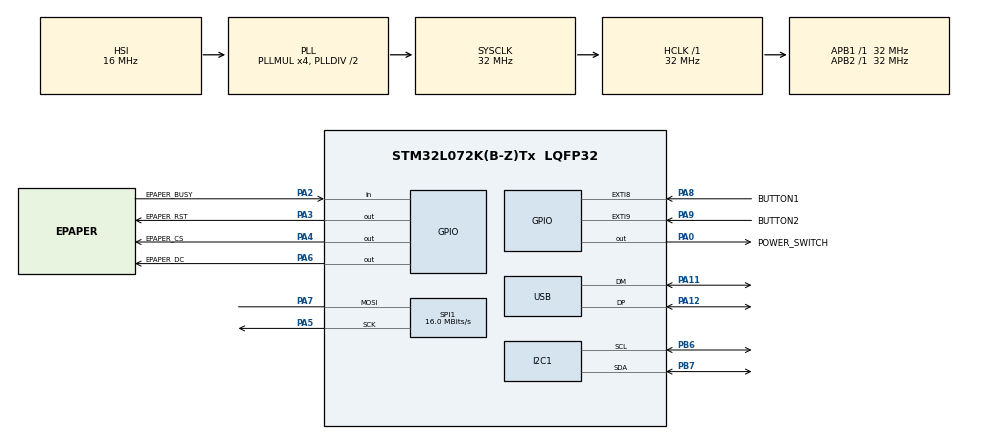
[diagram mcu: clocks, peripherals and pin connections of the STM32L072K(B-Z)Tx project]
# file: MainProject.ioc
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CRC.DefaultInitValueUse=DEFAULT_INIT_VALUE_DISABLE
CRC.DefaultPolynomialUse=DEFAULT_POLYNOMIAL_DISABLE
I2C1.Timing=0x00707CBB
Mcu.Family=STM32L0
Mcu.Name=STM32L072K(B-Z)Tx
Mcu.Package=LQFP32
NVIC.EXTI4_15_IRQn=true\:0\:0\:false\:false\:true\:true\:true\:true
NVIC.USB_IRQn=true\:0\:0\:false\:false\:true\:false\:true\:true
PA0.GPIO_Label=POWER_SWITCH
PA0.Signal=GPIO_Output
PA11.Mode=Device
PA11.Signal=USB_DM
PA12.Mode=Device
PA12.Signal=USB_DP
PA13.Mode=Serial_Wire
PA13.Signal=SYS_SWDIO
PA14.Mode=Serial_Wire
PA14.Signal=SYS_SWCLK
PA2.GPIO_Label=EPAPER_BUSY
PA2.Signal=GPIO_Input
PA3.GPIO_Label=EPAPER_RST
PA3.GPIO_Speed=GPIO_SPEED_FREQ_HIGH
PA3.Signal=GPIO_Output
PA4.GPIO_Label=EPAPER_CS
PA4.GPIO_Speed=GPIO_SPEED_FREQ_VERY_HIGH
PA4.Signal=GPIO_Output
PA5.Mode=Simplex_Bidirectional_Master
PA5.Signal=SPI1_SCK
PA6.GPIO_Label=EPAPER_DC
PA6.GPIO_Speed=GPIO_SPEED_FREQ_VERY_HIGH
PA6.Signal=GPIO_Output
PA7.Mode=Simplex_Bidirectional_Master
PA7.Signal=SPI1_MOSI
PA8.GPIO_Label=BUTTON1
PA8.Signal=GPXTI8
PA9.GPIO_Label=BUTTON2
PA9.Signal=GPXTI9
PB6.Mode=I2C
PB6.Signal=I2C1_SCL
PB7.Mode=I2C
PB7.Signal=I2C1_SDA
ProjectManager.HeapSize=0x200
ProjectManager.StackSize=0x400
ProjectManager.TargetToolchain=STM32CubeIDE
RCC.AHBFreq_Value=32000000
RCC.APB1Freq_Value=32000000
RCC.APB1TimFreq_Value=32000000
RCC.APB2Freq_Value=32000000
RCC.APB2TimFreq_Value=32000000
RCC.HCLKFreq_Value=32000000
RCC.HSI16_VALUE=16000000
RCC.HSI48MClockSelection=RCC_USBCLKSOURCE_HSI48
RCC.HSI48_VALUE=48000000
RCC.HSI_VALUE=16000000
RCC.LSE_VALUE=32768
RCC.MSI_VALUE=2097000
RCC.PLLMUL=RCC_PLLMUL_4
RCC.SYSCLKFreq_VALUE=32000000
RCC.SYSCLKSource=RCC_SYSCLKSOURCE_PLLCLK
RCC.VCOOutputFreq_Value=64000000
SPI1.CalculateBaudRate=16.0 MBits/s
SPI1.Direction=SPI_DIRECTION_1LINE
SPI1.Mode=SPI_MODE_MASTER
SPI1.VirtualType=VM_MASTER
USB_DEVICE.APP_RX_DATA_SIZE=512
USB_DEVICE.APP_TX_DATA_SIZE=512
USB_DEVICE.CLASS_NAME_FS=CDC
USB_DEVICE.VirtualMode=Cdc
USB_DEVICE.VirtualModeFS=Cdc_FS
VP_CRC_VS_CRC.Mode=CRC_Activate
VP_RCC_USB.Mode=CRS SYNC Source USB
VP_USB_DEVICE_VS_USB_DEVICE_CDC_FS.Mode=CDC_FS
board=custom

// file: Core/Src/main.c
/* USER CODE BEGIN Header */
/**
  ******************************************************************************
  * @file           : main.c
  * @brief          : Main program body
  ******************************************************************************
  * @attention
  *
  * Copyright (c) 2022 STMicroelectronics.
  * All rights reserved.
  *
  * This software is licensed under terms that can be found in the LICENSE file
  * in the root directory of this software component.
  * If no LICENSE file comes with this software, it is provided AS-IS.
  *
  ******************************************************************************
  */
/* USER CODE END Header */
#include "main.h"
#include "usb_device.h"

/* USER CODE BEGIN Includes */
#include "usbd_cdc_if.h"
#include "paper.h"
#include "24FC64F.h"
#define DISPLAY_ON POWER_SWITCH_GPIO_Port->ODR &= ~(POWER_SWITCH_Pin)
#define DISPLAY_OFF POWER_SWITCH_GPIO_Port->ODR |= (POWER_SWITCH_Pin)

// The section size is really dependent on USB CDC's write capabilities which is best done
// 64 bytes at a time
#define SECTION_SIZE 64
// The numbmer of "sections" to make up a single frame, in this case (64*44) = 22528 bits.
// The display has 212*104=22048 bits
#define SECTION_PER_FRAME 44
#define BYTES_PER_FRAME SECTION_SIZE * SECTION_PER_FRAME
// A section from the start of the EEPROM reserved for user settings.
// This should be a multiple of 32 due to the EEPROM's page write size
#define EEPROM_USER_SETTING_SIZE 32

uint8_t current_frame = 0;
uint8_t display_buffer[BYTES_PER_FRAME];
uint8_t version_string[] = "Epaper Rev C\n";

int usb_asking_numb_data = 0;
uint8_t usb_asking_for = 0;
uint8_t ee_write_frame = 0;
uint8_t ee_write_section = 0;

uint8_t handle_loop_extra_stuff = 0;
uint8_t handle_main_loop = 0;

void handle_usb_packet(void);
void handle_usb_extra_data(void);
/* USER CODE END Includes */

/* USER CODE BEGIN PTD */
UserSettings_t user_settings = {
	.numb_of_frames = 3,
};
/* USER CODE END PTD */

void SystemClock_Config(void);
static void MX_GPIO_Init(void);
static void MX_CRC_Init(void);
static void MX_I2C1_Init(void);
static void MX_SPI1_Init(void);

int main(void)
{

  /* MCU Configuration--------------------------------------------------------*/

  /* Reset of all peripherals, Initializes the Flash interface and the Systick. */
  HAL_Init();

  /* Configure the system clock */
  SystemClock_Config();

  /* Initialize all configured peripherals */
  MX_GPIO_Init();
  MX_CRC_Init();
  MX_I2C1_Init();
  MX_SPI1_Init();
  MX_USB_DEVICE_Init();
  /* USER CODE BEGIN 2 */
//  get_setting_from_ee();
  DISPLAY_ON;
  LL_SPI_Enable(SPI1);
  Paper_Init();
  Paper_Clear(); Paper_TurnOnDisplay();
  Paper_Sleep();
  DISPLAY_OFF;
  /* USER CODE END 2 */

  /* Infinite loop */
  /* USER CODE BEGIN WHILE */
  while (1)
  {
    if(handle_loop_extra_stuff == 1){
	  NVIC_DisableIRQ(USB_IRQn);
	  handle_usb_extra_data();
	  NVIC_EnableIRQ(USB_IRQn);
	  handle_loop_extra_stuff = 0;
	}
	else if(handle_loop_extra_stuff == 2){
	  NVIC_DisableIRQ(USB_IRQn);
	  display_frame_number(ee_write_frame);
	  NVIC_EnableIRQ(USB_IRQn);
	  handle_loop_extra_stuff = 0;
	}

	if(handle_main_loop == 1){
	  NVIC_DisableIRQ(USB_IRQn);
	  handle_usb_packet();
	  NVIC_EnableIRQ(USB_IRQn);
	  handle_main_loop = 0;
	}
    /* USER CODE END WHILE */

  }
}

void SystemClock_Config(void)
{
  RCC_OscInitTypeDef RCC_OscInitStruct = {0};
  RCC_ClkInitTypeDef RCC_ClkInitStruct = {0};
  RCC_PeriphCLKInitTypeDef PeriphClkInit = {0};
  RCC_CRSInitTypeDef RCC_CRSInitStruct = {0};

  /** Configure the main internal regulator output voltage
  */
  __HAL_PWR_VOLTAGESCALING_CONFIG(PWR_REGULATOR_VOLTAGE_SCALE1);

  /** Initializes the RCC Oscillators according to the specified parameters
  * in the RCC_OscInitTypeDef structure.
  */
  RCC_OscInitStruct.OscillatorType = RCC_OSCILLATORTYPE_HSI|RCC_OSCILLATORTYPE_HSI48;
  RCC_OscInitStruct.HSIState = RCC_HSI_ON;
  RCC_OscInitStruct.HSICalibrationValue = RCC_HSICALIBRATION_DEFAULT;
  RCC_OscInitStruct.HSI48State = RCC_HSI48_ON;
  RCC_OscInitStruct.PLL.PLLState = RCC_PLL_ON;
  RCC_OscInitStruct.PLL.PLLSource = RCC_PLLSOURCE_HSI;
  RCC_OscInitStruct.PLL.PLLMUL = RCC_PLLMUL_4;
  RCC_OscInitStruct.PLL.PLLDIV = RCC_PLLDIV_2;
  if (HAL_RCC_OscConfig(&RCC_OscInitStruct) != HAL_OK)
  {
    Error_Handler();
  }

  /** Initializes the CPU, AHB and APB buses clocks
  */
  RCC_ClkInitStruct.ClockType = RCC_CLOCKTYPE_HCLK|RCC_CLOCKTYPE_SYSCLK
                              |RCC_CLOCKTYPE_PCLK1|RCC_CLOCKTYPE_PCLK2;
  RCC_ClkInitStruct.SYSCLKSource = RCC_SYSCLKSOURCE_PLLCLK;
  RCC_ClkInitStruct.AHBCLKDivider = RCC_SYSCLK_DIV1;
  RCC_ClkInitStruct.APB1CLKDivider = RCC_HCLK_DIV1;
  RCC_ClkInitStruct.APB2CLKDivider = RCC_HCLK_DIV1;

  if (HAL_RCC_ClockConfig(&RCC_ClkInitStruct, FLASH_LATENCY_1) != HAL_OK)
  {
    Error_Handler();
  }
  PeriphClkInit.PeriphClockSelection = RCC_PERIPHCLK_I2C1|RCC_PERIPHCLK_USB;
  PeriphClkInit.I2c1ClockSelection = RCC_I2C1CLKSOURCE_PCLK1;
  PeriphClkInit.UsbClockSelection = RCC_USBCLKSOURCE_HSI48;
  if (HAL_RCCEx_PeriphCLKConfig(&PeriphClkInit) != HAL_OK)
  {
    Error_Handler();
  }

  /** Enable the SYSCFG APB clock
  */
  __HAL_RCC_CRS_CLK_ENABLE();

  /** Configures CRS
  */
  RCC_CRSInitStruct.Prescaler = RCC_CRS_SYNC_DIV1;
  RCC_CRSInitStruct.Source = RCC_CRS_SYNC_SOURCE_USB;
  RCC_CRSInitStruct.Polarity = RCC_CRS_SYNC_POLARITY_RISING;
  RCC_CRSInitStruct.ReloadValue = __HAL_RCC_CRS_RELOADVALUE_CALCULATE(48000000,1000);
  RCC_CRSInitStruct.ErrorLimitValue = 34;
  RCC_CRSInitStruct.HSI48CalibrationValue = 32;

  HAL_RCCEx_CRSConfig(&RCC_CRSInitStruct);
}

static void MX_CRC_Init(void)
{

  /* Peripheral clock enable */
  LL_AHB1_GRP1_EnableClock(LL_AHB1_GRP1_PERIPH_CRC);

  LL_CRC_SetInputDataReverseMode(CRC, LL_CRC_INDATA_REVERSE_NONE);
  LL_CRC_SetOutputDataReverseMode(CRC, LL_CRC_OUTDATA_REVERSE_NONE);
  LL_CRC_SetInitialData(CRC, 0);
  LL_CRC_SetPolynomialCoef(CRC, 79764919);
  LL_CRC_SetPolynomialSize(CRC, LL_CRC_POLYLENGTH_32B);

}

static void MX_I2C1_Init(void)
{

  LL_I2C_InitTypeDef I2C_InitStruct = {0};

  LL_GPIO_InitTypeDef GPIO_InitStruct = {0};

  LL_IOP_GRP1_EnableClock(LL_IOP_GRP1_PERIPH_GPIOB);
  /**I2C1 GPIO Configuration
  PB6   ------> I2C1_SCL
  PB7   ------> I2C1_SDA
  */
  GPIO_InitStruct.Pin = LL_GPIO_PIN_6;
  GPIO_InitStruct.Mode = LL_GPIO_MODE_ALTERNATE;
  GPIO_InitStruct.Speed = LL_GPIO_SPEED_FREQ_VERY_HIGH;
  GPIO_InitStruct.OutputType = LL_GPIO_OUTPUT_OPENDRAIN;
  GPIO_InitStruct.Pull = LL_GPIO_PULL_NO;
  GPIO_InitStruct.Alternate = LL_GPIO_AF_1;
  LL_GPIO_Init(GPIOB, &GPIO_InitStruct);

  GPIO_InitStruct.Pin = LL_GPIO_PIN_7;
  GPIO_InitStruct.Mode = LL_GPIO_MODE_ALTERNATE;
  GPIO_InitStruct.Speed = LL_GPIO_SPEED_FREQ_VERY_HIGH;
  GPIO_InitStruct.OutputType = LL_GPIO_OUTPUT_OPENDRAIN;
  GPIO_InitStruct.Pull = LL_GPIO_PULL_NO;
  GPIO_InitStruct.Alternate = LL_GPIO_AF_1;
  LL_GPIO_Init(GPIOB, &GPIO_InitStruct);

  /* Peripheral clock enable */
  LL_APB1_GRP1_EnableClock(LL_APB1_GRP1_PERIPH_I2C1);

  /** I2C Initialization
  */
  LL_I2C_EnableAutoEndMode(I2C1);
  LL_I2C_DisableOwnAddress2(I2C1);
  LL_I2C_DisableGeneralCall(I2C1);
  LL_I2C_EnableClockStretching(I2C1);
  I2C_InitStruct.PeripheralMode = LL_I2C_MODE_I2C;
  I2C_InitStruct.Timing = 0x00707CBB;
  I2C_InitStruct.AnalogFilter = LL_I2C_ANALOGFILTER_ENABLE;
  I2C_InitStruct.DigitalFilter = 0;
  I2C_InitStruct.OwnAddress1 = 0;
  I2C_InitStruct.TypeAcknowledge = LL_I2C_ACK;
  I2C_InitStruct.OwnAddrSize = LL_I2C_OWNADDRESS1_7BIT;
  LL_I2C_Init(I2C1, &I2C_InitStruct);
  LL_I2C_SetOwnAddress2(I2C1, 0, LL_I2C_OWNADDRESS2_NOMASK);

}

static void MX_SPI1_Init(void)
{

  LL_SPI_InitTypeDef SPI_InitStruct = {0};

  LL_GPIO_InitTypeDef GPIO_InitStruct = {0};

  /* Peripheral clock enable */
  LL_APB2_GRP1_EnableClock(LL_APB2_GRP1_PERIPH_SPI1);

  LL_IOP_GRP1_EnableClock(LL_IOP_GRP1_PERIPH_GPIOA);
  /**SPI1 GPIO Configuration
  PA5   ------> SPI1_SCK
  PA7   ------> SPI1_MOSI
  */
  GPIO_InitStruct.Pin = LL_GPIO_PIN_5;
  GPIO_InitStruct.Mode = LL_GPIO_MODE_ALTERNATE;
  GPIO_InitStruct.Speed = LL_GPIO_SPEED_FREQ_VERY_HIGH;
  GPIO_InitStruct.OutputType = LL_GPIO_OUTPUT_PUSHPULL;
  GPIO_InitStruct.Pull = LL_GPIO_PULL_NO;
  GPIO_InitStruct.Alternate = LL_GPIO_AF_0;
  LL_GPIO_Init(GPIOA, &GPIO_InitStruct);

  GPIO_InitStruct.Pin = LL_GPIO_PIN_7;
  GPIO_InitStruct.Mode = LL_GPIO_MODE_ALTERNATE;
  GPIO_InitStruct.Speed = LL_GPIO_SPEED_FREQ_VERY_HIGH;
  GPIO_InitStruct.OutputType = LL_GPIO_OUTPUT_PUSHPULL;
  GPIO_InitStruct.Pull = LL_GPIO_PULL_NO;
  GPIO_InitStruct.Alternate = LL_GPIO_AF_0;
  LL_GPIO_Init(GPIOA, &GPIO_InitStruct);

  /* SPI1 parameter configuration*/
  SPI_InitStruct.TransferDirection = LL_SPI_HALF_DUPLEX_TX;
  SPI_InitStruct.Mode = LL_SPI_MODE_MASTER;
  SPI_InitStruct.DataWidth = LL_SPI_DATAWIDTH_8BIT;
  SPI_InitStruct.ClockPolarity = LL_SPI_POLARITY_LOW;
  SPI_InitStruct.ClockPhase = LL_SPI_PHASE_1EDGE;
  SPI_InitStruct.NSS = LL_SPI_NSS_SOFT;
  SPI_InitStruct.BaudRate = LL_SPI_BAUDRATEPRESCALER_DIV2;
  SPI_InitStruct.BitOrder = LL_SPI_MSB_FIRST;
  SPI_InitStruct.CRCCalculation = LL_SPI_CRCCALCULATION_DISABLE;
  SPI_InitStruct.CRCPoly = 7;
  LL_SPI_Init(SPI1, &SPI_InitStruct);
  LL_SPI_SetStandard(SPI1, LL_SPI_PROTOCOL_MOTOROLA);

}

static void MX_GPIO_Init(void)
{
  LL_EXTI_InitTypeDef EXTI_InitStruct = {0};
  LL_GPIO_InitTypeDef GPIO_InitStruct = {0};

  /* GPIO Ports Clock Enable */
  LL_IOP_GRP1_EnableClock(LL_IOP_GRP1_PERIPH_GPIOA);
  LL_IOP_GRP1_EnableClock(LL_IOP_GRP1_PERIPH_GPIOB);

  /**/
  LL_GPIO_ResetOutputPin(POWER_SWITCH_GPIO_Port, POWER_SWITCH_Pin);

  /**/
  LL_GPIO_ResetOutputPin(EPAPER_RST_GPIO_Port, EPAPER_RST_Pin);

  /**/
  LL_GPIO_ResetOutputPin(EPAPER_CS_GPIO_Port, EPAPER_CS_Pin);

  /**/
  LL_GPIO_ResetOutputPin(EPAPER_DC_GPIO_Port, EPAPER_DC_Pin);

  /**/
  GPIO_InitStruct.Pin = POWER_SWITCH_Pin;
  GPIO_InitStruct.Mode = LL_GPIO_MODE_OUTPUT;
  GPIO_InitStruct.Speed = LL_GPIO_SPEED_FREQ_LOW;
  GPIO_InitStruct.OutputType = LL_GPIO_OUTPUT_PUSHPULL;
  GPIO_InitStruct.Pull = LL_GPIO_PULL_NO;
  LL_GPIO_Init(POWER_SWITCH_GPIO_Port, &GPIO_InitStruct);

  /**/
  GPIO_InitStruct.Pin = EPAPER_BUSY_Pin;
  GPIO_InitStruct.Mode = LL_GPIO_MODE_INPUT;
  GPIO_InitStruct.Pull = LL_GPIO_PULL_NO;
  LL_GPIO_Init(EPAPER_BUSY_GPIO_Port, &GPIO_InitStruct);

  /**/
  GPIO_InitStruct.Pin = EPAPER_RST_Pin;
  GPIO_InitStruct.Mode = LL_GPIO_MODE_OUTPUT;
  GPIO_InitStruct.Speed = LL_GPIO_SPEED_FREQ_HIGH;
  GPIO_InitStruct.OutputType = LL_GPIO_OUTPUT_PUSHPULL;
  GPIO_InitStruct.Pull = LL_GPIO_PULL_NO;
  LL_GPIO_Init(EPAPER_RST_GPIO_Port, &GPIO_InitStruct);

  /**/
  GPIO_InitStruct.Pin = EPAPER_CS_Pin;
  GPIO_InitStruct.Mode = LL_GPIO_MODE_OUTPUT;
  GPIO_InitStruct.Speed = LL_GPIO_SPEED_FREQ_VERY_HIGH;
  GPIO_InitStruct.OutputType = LL_GPIO_OUTPUT_PUSHPULL;
  GPIO_InitStruct.Pull = LL_GPIO_PULL_NO;
  LL_GPIO_Init(EPAPER_CS_GPIO_Port, &GPIO_InitStruct);

  /**/
  GPIO_InitStruct.Pin = EPAPER_DC_Pin;
  GPIO_InitStruct.Mode = LL_GPIO_MODE_OUTPUT;
  GPIO_InitStruct.Speed = LL_GPIO_SPEED_FREQ_VERY_HIGH;
  GPIO_InitStruct.OutputType = LL_GPIO_OUTPUT_PUSHPULL;
  GPIO_InitStruct.Pull = LL_GPIO_PULL_NO;
  LL_GPIO_Init(EPAPER_DC_GPIO_Port, &GPIO_InitStruct);

  /**/
  LL_SYSCFG_SetEXTISource(LL_SYSCFG_EXTI_PORTA, LL_SYSCFG_EXTI_LINE8);

  /**/
  LL_SYSCFG_SetEXTISource(LL_SYSCFG_EXTI_PORTA, LL_SYSCFG_EXTI_LINE9);

  /**/
  LL_GPIO_SetPinPull(BUTTON1_GPIO_Port, BUTTON1_Pin, LL_GPIO_PULL_NO);

  /**/
  LL_GPIO_SetPinPull(BUTTON2_GPIO_Port, BUTTON2_Pin, LL_GPIO_PULL_NO);

  /**/
  LL_GPIO_SetPinMode(BUTTON1_GPIO_Port, BUTTON1_Pin, LL_GPIO_MODE_INPUT);

  /**/
  LL_GPIO_SetPinMode(BUTTON2_GPIO_Port, BUTTON2_Pin, LL_GPIO_MODE_INPUT);

  /**/
  EXTI_InitStruct.Line_0_31 = LL_EXTI_LINE_8;
  EXTI_InitStruct.LineCommand = ENABLE;
  EXTI_InitStruct.Mode = LL_EXTI_MODE_IT;
  EXTI_InitStruct.Trigger = LL_EXTI_TRIGGER_RISING;
  LL_EXTI_Init(&EXTI_InitStruct);

  /**/
  EXTI_InitStruct.Line_0_31 = LL_EXTI_LINE_9;
  EXTI_InitStruct.LineCommand = ENABLE;
  EXTI_InitStruct.Mode = LL_EXTI_MODE_IT;
  EXTI_InitStruct.Trigger = LL_EXTI_TRIGGER_RISING;
  LL_EXTI_Init(&EXTI_InitStruct);

  /* EXTI interrupt init*/
  NVIC_SetPriority(EXTI4_15_IRQn, 0);
  NVIC_EnableIRQ(EXTI4_15_IRQn);

}

/* USER CODE BEGIN 4 */
/**
 * Function that gets settings stored in EEPROM, such as the nummber of
 */
void get_setting_from_ee(){
	uint8_t ee_user_data[EEPROM_USER_SETTING_SIZE];
	ee24fc64_multi_read_read(ee_user_data, EEPROM_USER_SETTING_SIZE, 0);
	user_settings.numb_of_frames = ee_user_data[0];
}

void store_settings_to_ee(){
	uint8_t ee_user_data[EEPROM_USER_SETTING_SIZE];
	memset(ee_user_data, 0, EEPROM_USER_SETTING_SIZE);	// Making sure the user data written starts out empty
	ee_user_data[0] = user_settings.numb_of_frames;

	uint16_t start_address = 0;
	for(int i=0;i<EEPROM_USER_SETTING_SIZE/32;i++){
		ee24fc64_multi_write(&UserRxBufferFS[(32*i)], 32, start_address);
		start_address += 32;
	}
}

void display_frame_number(uint8_t frame_number){
	uint16_t start_address = frame_number*BYTES_PER_FRAME + EEPROM_USER_SETTING_SIZE;
	for(int i=0;i<SECTION_PER_FRAME;i++){
		ee24fc64_multi_read_read(&display_buffer[i*SECTION_SIZE], SECTION_SIZE, start_address);
		start_address += SECTION_SIZE;
	}
	DISPLAY_ON; Paper_Init();
	Paper_Display(display_buffer);
	Paper_Sleep();
	DISPLAY_OFF;
}

void handle_usb_packet(){
	uint8_t frame, section;
	uint16_t start_address;
	if(UserRxBufferFS[0] == 0x02){
		ee_write_frame = UserRxBufferFS[1];
		ee_write_section = UserRxBufferFS[2];
		usb_asking_for = 1;
		usb_asking_numb_data = SECTION_SIZE;
		UserTxBufferFS[0] = 0xFE; UserTxBufferFS[1] = '\n';
		CDC_Transmit_FS(UserTxBufferFS, 2);
	}
	else if(UserRxBufferFS[0] == 0x03){
		frame = UserRxBufferFS[1];
		section = UserRxBufferFS[2];
		start_address = (frame*BYTES_PER_FRAME) + (section*SECTION_SIZE) + EEPROM_USER_SETTING_SIZE;
		memset(&UserTxBufferFS[0], 0, SECTION_SIZE);
		ee24fc64_multi_read_read(&UserTxBufferFS[0], SECTION_SIZE, start_address);
		CDC_Transmit_FS(UserTxBufferFS, SECTION_SIZE);
	} else if(UserRxBufferFS[0] == 'v'){
		CDC_Transmit_FS(version_string, sizeof(version_string)-1);
	} else if(UserRxBufferFS[0] == 0x20){
		ee_write_frame = UserRxBufferFS[1];
		handle_loop_extra_stuff = 2;
	}
}

void handle_usb_extra_data(){
	uint32_t crc; uint16_t start_address;
	if(usb_asking_for == 1){
		LL_CRC_SetInitialData(CRC, 0);
		start_address = (ee_write_frame*BYTES_PER_FRAME) + (ee_write_section*SECTION_SIZE) + EEPROM_USER_SETTING_SIZE;
		for(int i=0;i<SECTION_SIZE/32;i++){
			ee24fc64_multi_write(&UserRxBufferFS[(32*i)], 32, start_address);
			for(int f=0;f<32;f++){LL_CRC_FeedData8(CRC, UserRxBufferFS[(32*i)+f]);}
			start_address += 32;
		}
		crc = LL_CRC_ReadData32(CRC);
		crc = ~crc;
		memcpy(&UserTxBufferFS[0], &crc, 4); UserTxBufferFS[4] = '\n';
		CDC_Transmit_FS(UserTxBufferFS, 5);
	}
	usb_asking_for = 0;
	usb_asking_numb_data = 0;
}

/* USER CODE END 4 */

void Error_Handler(void)
{
  __disable_irq();
  while (1)
  {
  }
}
